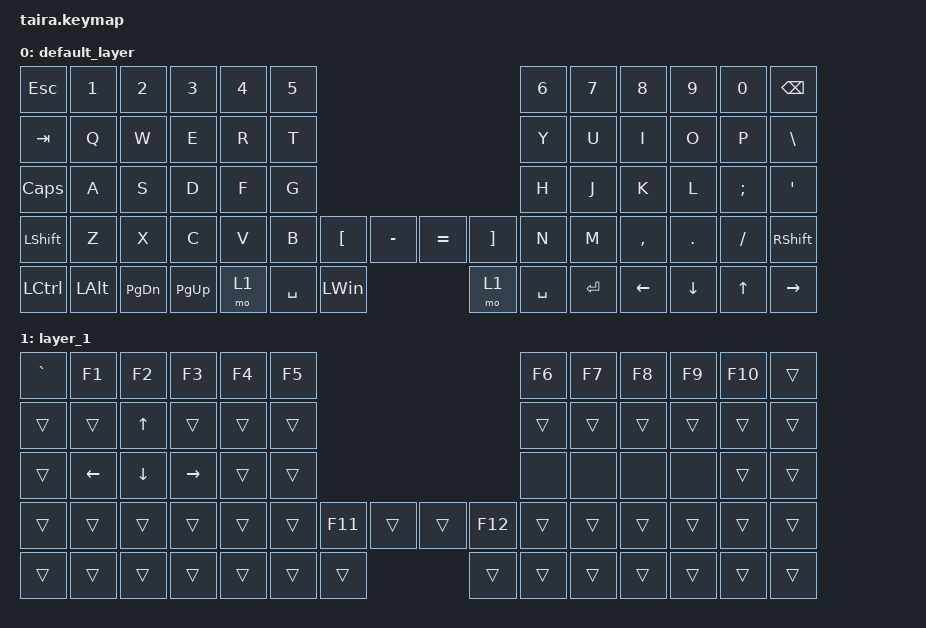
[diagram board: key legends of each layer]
/*
 * Copyright (c) 2020 The ZMK Contributors
 *
 * SPDX-License-Identifier: MIT
 */

#include <behaviors.dtsi>
#include <dt-bindings/zmk/keys.h>

#define DEFAULT 0
#define LOWER   1
#define RAISE   2
#define ADJUST  3
#define HYPER   4
#define GAME    5

/ {
    conditional_layers { compatible = "zmk,conditional-layers"; };

    keymap {
        compatible = "zmk,keymap";

        default_layer {
            /* QWERTY
 * .----------------------------------------------------------------------------------------------------------------------------------.
 * |  `   |   1  |   2  |   3  |   4  |   5  |                                              |   6  |   7  |   8  |   9  |   0  | PScr |
 * |-------------+------+------+------+------+------+------+-------+-+-------+-------+------+------+------+------+------+------+------|
 * | ESC  |   Q  |   W  |   E  |   R  |   T  |                                              |   Y  |   U  |   I  |   O  |   P  |  \   |
 * |-------------+------+------+------+------+------+------+-------+-+-------+-------+------+------+------+------+------+------+------|
 * | Tab  |   A  |   S  |   D  |   F  |   G  |                                              |   H  |   J  |   K  |   L  |   ;  |  '   |
 * |-------------+------+------+------+------+------+------+-------+-+-------+-------+------+------+------+------+------+------+------|
 * | Shift|   Z  |   X  |   C  |   V  |   B  |      | Del  | PGDN  | | PGUP  | Home  |      |   N  |   M  |   ,  |   .  |   /  | Shift|
 * |-------------+------+------+------+------+------+------+-------+-+-------+-------+------+------+------+------+------+------+------|
 * | Ctrl | Alt  | Meta | Alt  |             | Meta | Space| Lower | | Raise | Enter | RAlt |             | LEFT | DOWN | UP   | RIGHT|
 * .----------------------------------------------------------------------------------------------------------------------------------.
 */

            bindings = <
&kp ESC    &kp N1    &kp N2         &kp N3       &kp N4  &kp N5                                                                 &kp N6  &kp N7  &kp N8     &kp N9    &kp N0    &kp BSPC
&kp TAB    &kp Q     &kp W          &kp E        &kp R   &kp T                                                                  &kp Y   &kp U   &kp I      &kp O     &kp P     &kp BSLH
&kp CAPS   &kp A     &kp S          &kp D        &kp F   &kp G                                                                  &kp H   &kp J   &kp K      &kp L     &kp SEMI  &kp SQT
&kp LSHFT  &kp Z     &kp X          &kp C        &kp V   &kp B          &kp LBKT   &kp MINUS     &kp EQUAL  &kp RBKT            &kp N   &kp M   &kp COMMA  &kp DOT   &kp FSLH  &kp RSHFT
&kp LCTRL  &kp LALT  &kp PAGE_DOWN  &kp PAGE_UP                  &mo 1  &kp SPACE  &kp LEFT_WIN  &mo 1      &kp SPACE  &kp RET                  &kp LEFT   &kp DOWN  &kp UP    &kp RIGHT
            >;
        };

        layer_1 {
            bindings = <
&kp GRAVE  &kp F1    &kp F2    &kp F3     &kp F4  &kp F5                                                    &kp F6  &kp F7  &kp F8  &kp F9  &kp F10  &trans
&trans     &trans    &kp UP    &trans     &trans  &trans                                                    &trans  &trans  &trans  &trans  &trans   &trans
&trans     &kp LEFT  &kp DOWN  &kp RIGHT  &trans  &trans                                                    &none   &none   &none   &none   &trans   &trans
&trans     &trans    &trans    &trans     &trans  &trans          &kp F11  &trans  &trans  &kp F12          &trans  &trans  &trans  &trans  &trans   &trans
&trans     &trans    &trans    &trans                     &trans  &trans   &trans  &trans  &trans   &trans                  &trans  &trans  &trans   &trans
            >;
        };
    };
};
